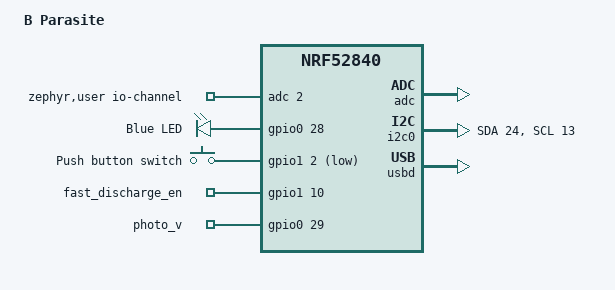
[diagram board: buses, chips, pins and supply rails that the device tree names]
/*
 * Copyright (c) 2020 Tobias Svehagen
 *
 * SPDX-License-Identifier: Apache-2.0
 */

 /dts-v1/;
 #include <nordic/nrf52840_qiaa.dtsi>
 /* #include "feather_connector.dtsi" */
 
 / {
	 model = "B Parasite";
	 compatible = "adafruit,feather-nrf52840";
 
   zephyr,user {
     io-channels = <&adc 2>;
   };
	 chosen {
		 zephyr,console = &uart0;
		 zephyr,shell-uart = &uart0;
		 zephyr,uart-mcumgr = &uart0;
		 zephyr,bt-mon-uart = &uart0;
		 zephyr,bt-c2h-uart = &uart0;
		 zephyr,sram = &sram0;
		 zephyr,flash = &flash0;
		 zephyr,code-partition = &slot0_partition;
	 };
 
	 leds {
		 compatible = "gpio-leds";
		 led0: led_0 {
			 gpios = <&gpio0 28 0>;
			 label = "Blue LED";
		 };
	 };
 
	 buttons {
		 compatible = "gpio-keys";
		 button0: button_0 {
			 gpios = <&gpio1 2 (GPIO_PULL_UP | GPIO_ACTIVE_LOW)>;
			 label = "Push button switch";
		 };
	 };
 
	 gpios {
		 compatible = "gpio-keys";
		 fast_discharge_en: gpio1_10 {
		   gpios = <&gpio1 10 GPIO_ACTIVE_HIGH>;
		   label = "fast_discharge_en";
		 };
		 photo_v: gpio0_29 {
		   gpios = <&gpio0 29 GPIO_ACTIVE_HIGH>;
		   label = "photo_v";
		 };
	 };
 
	 /* These aliases are provided for compatibility with samples */
	 aliases {
		 led0 = &led0;
     fast-discharge-en = &fast_discharge_en;
     photo-v = &photo_v;
	 };
 };
 
 &adc {
	 status = "okay";
 };
 
 &gpiote {
	 status = "okay";
 };
 
 &gpio0 {
	 status = "okay";
 };
 
 &gpio1 {
	 status = "okay";
 };
 
 &uart0 {
	 compatible = "nordic,nrf-uart";
	 status = "disabled";
 };
 
 &uart1 {
	 compatible = "nordic,nrf-uarte";
	 status = "disabled";
 };
 
 &i2c0 {
	 compatible = "nordic,nrf-twi";
	 status = "okay";
	 sda-pin = <24>;
	 scl-pin = <13>;
 };
 
 &spi1 {
	 compatible = "nordic,nrf-spi";
	 status = "disabled";
 };
 
 &spi2 {
	 compatible = "nordic,nrf-spi";
	 status = "disabled";
 };
 
 &qspi {
	 status = "disabled";
 };
 
 &flash0 {
 
	 partitions {
		 compatible = "fixed-partitions";
		 #address-cells = <1>;
		 #size-cells = <1>;
 
		 boot_partition: partition@0 {
			 label = "mcuboot";
			 reg = <0x000000000 0x0000C000>;
		 };
		 slot0_partition: partition@c000 {
			 label = "image-0";
			 reg = <0x0000C000 0x00067000>;
		 };
		 slot1_partition: partition@73000 {
			 label = "image-1";
			 reg = <0x00073000 0x00067000>;
		 };
		 scratch_partition: partition@da000 {
			 label = "image-scratch";
			 reg = <0x000da000 0x0001e000>;
		 };
 
		 /*
		  * The flash starting at 0x000f8000 and ending at
		  * 0x000fffff is reserved for use by the application.
		  */
 
		 /* Storage partition will be used by FCB/NFFS/NVS if enabled. */
		 storage_partition: partition@f8000 {
			 label = "storage";
			 reg = <0x000f8000 0x00008000>;
		 };
	 };
 };
 
 zephyr_udc0: &usbd {
	 compatible = "nordic,nrf-usbd";
	 status = "okay";
 };
 
